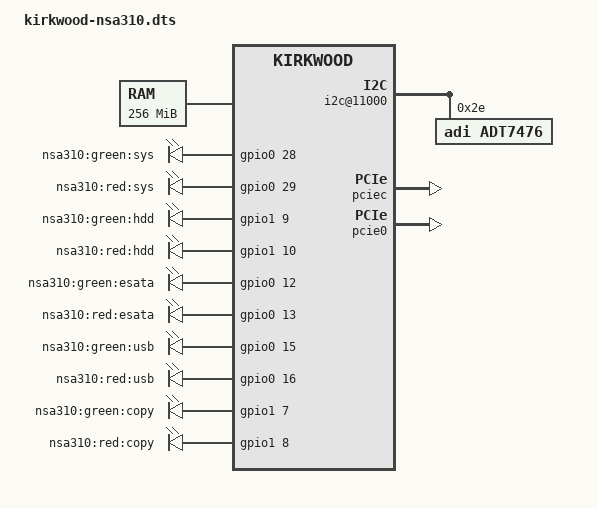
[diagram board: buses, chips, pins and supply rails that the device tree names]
// SPDX-License-Identifier: GPL-2.0
/dts-v1/;

#include "kirkwood-nsa3x0-common.dtsi"

/ {
	compatible = "zyxel,nsa310", "marvell,kirkwood-88f6281", "marvell,kirkwood";

	memory {
		device_type = "memory";
		reg = <0x00000000 0x10000000>;
	};

	chosen {
		bootargs = "console=ttyS0,115200";
		stdout-path = &uart0;
	};

	ocp@f1000000 {
		pinctrl: pin-controller@10000 {
			pinctrl-0 = <&pmx_unknown>;
			pinctrl-names = "default";

			pmx_led_esata_green: pmx-led-esata-green {
				marvell,pins = "mpp12";
				marvell,function = "gpio";
			};

			pmx_led_esata_red: pmx-led-esata-red {
				marvell,pins = "mpp13";
				marvell,function = "gpio";
			};

			pmx_led_usb_green: pmx-led-usb-green {
				marvell,pins = "mpp15";
				marvell,function = "gpio";
			};

			pmx_led_usb_red: pmx-led-usb-red {
				marvell,pins = "mpp16";
				marvell,function = "gpio";
			};

			pmx_led_sys_green: pmx-led-sys-green {
				marvell,pins = "mpp28";
				marvell,function = "gpio";
			};

			pmx_led_sys_red: pmx-led-sys-red {
				marvell,pins = "mpp29";
				marvell,function = "gpio";
			};

			pmx_led_hdd_green: pmx-led-hdd-green {
				marvell,pins = "mpp41";
				marvell,function = "gpio";
			};

			pmx_led_hdd_red: pmx-led-hdd-red {
				marvell,pins = "mpp42";
				marvell,function = "gpio";
			};

			pmx_unknown: pmx-unknown {
				marvell,pins = "mpp44";
				marvell,function = "gpio";
			};

		};

		i2c@11000 {
			status = "okay";

			adt7476: adt7476a@2e {
				compatible = "adi,adt7476";
				reg = <0x2e>;
			};
		};
	};

	gpio-leds {
		compatible = "gpio-leds";
		pinctrl-0 = <&pmx_led_esata_green &pmx_led_esata_red
			     &pmx_led_usb_green &pmx_led_usb_red
			     &pmx_led_sys_green &pmx_led_sys_red
			     &pmx_led_copy_green &pmx_led_copy_red
			     &pmx_led_hdd_green &pmx_led_hdd_red>;
		pinctrl-names = "default";

		green-sys {
			label = "nsa310:green:sys";
			gpios = <&gpio0 28 GPIO_ACTIVE_HIGH>;
		};
		red-sys {
			label = "nsa310:red:sys";
			gpios = <&gpio0 29 GPIO_ACTIVE_HIGH>;
		};
		green-hdd {
			label = "nsa310:green:hdd";
			gpios = <&gpio1 9 GPIO_ACTIVE_HIGH>;
		};
		red-hdd {
			label = "nsa310:red:hdd";
			gpios = <&gpio1 10 GPIO_ACTIVE_HIGH>;
		};
		green-esata {
			label = "nsa310:green:esata";
			gpios = <&gpio0 12 GPIO_ACTIVE_HIGH>;
		};
		red-esata {
			label = "nsa310:red:esata";
			gpios = <&gpio0 13 GPIO_ACTIVE_HIGH>;
		};
		green-usb {
			label = "nsa310:green:usb";
			gpios = <&gpio0 15 GPIO_ACTIVE_HIGH>;
		};
		red-usb {
			label = "nsa310:red:usb";
			gpios = <&gpio0 16 GPIO_ACTIVE_HIGH>;
		};
		green-copy {
			label = "nsa310:green:copy";
			gpios = <&gpio1 7 GPIO_ACTIVE_HIGH>;
		};
		red-copy {
			label = "nsa310:red:copy";
			gpios = <&gpio1 8 GPIO_ACTIVE_HIGH>;
		};
	};
};

&pciec {
	status = "okay";
};

&pcie0 {
	status = "okay";
};
